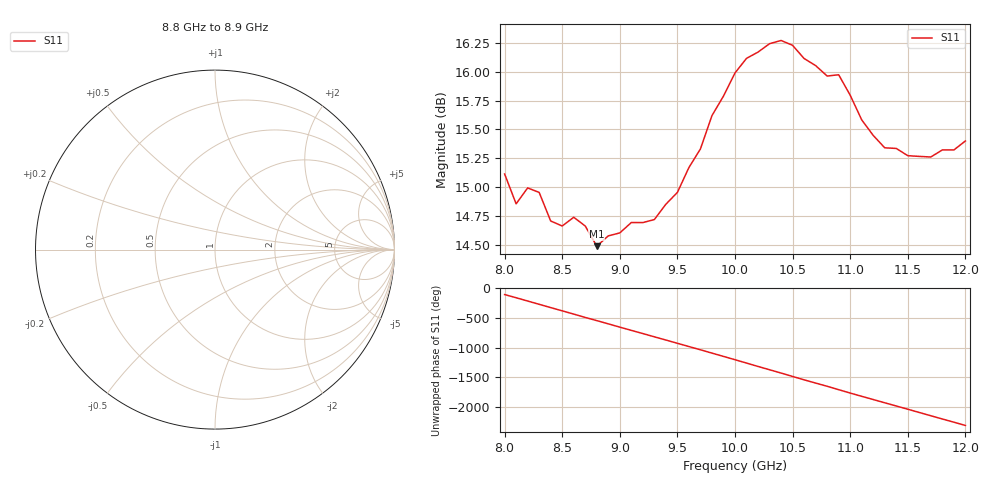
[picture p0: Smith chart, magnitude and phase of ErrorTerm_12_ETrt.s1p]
!  1-Port S-parameters saved by WinCal
! VAR NAME=2-Port SOLT labuser 2
! VAR Error Term Name=ETrt phys rcv port 1 phys src port 2
# Hz S RI R 50
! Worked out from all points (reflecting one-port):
!   41 points, 8 GHz to 12 GHz, reference 50 ohm
!   lowest |S11| = 14.5 dB at 8.8 GHz (marker M1)
!   phase of S11 starts at -106 deg and turns -2206 deg over the sweep
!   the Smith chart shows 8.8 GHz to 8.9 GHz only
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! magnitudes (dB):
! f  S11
! 8 GHz  15.1
! 8.1 GHz  14.9
! 8.2 GHz  15.0
! 8.3 GHz  15.0
! 8.4 GHz  14.7
! 8.5 GHz  14.7
! 8.6 GHz  14.7
! 8.7 GHz  14.7
! 8.8 GHz  14.5
! 9 GHz  14.6
! 9.1 GHz  14.7
! 9.3 GHz  14.7
! 9.5 GHz  15.0
! 9.7 GHz  15.3
! 9.8 GHz  15.6
! 10 GHz  16.0
! 10.1 GHz  16.1
! 10.3 GHz  16.2
! 10.4 GHz  16.3
! 10.5 GHz  16.2
! 10.8 GHz  16.0
! 10.9 GHz  16.0
! 11 GHz  15.8
! 11.1 GHz  15.6
! 11.3 GHz  15.3
! 11.5 GHz  15.3
! 11.7 GHz  15.3
! 12 GHz  15.4
